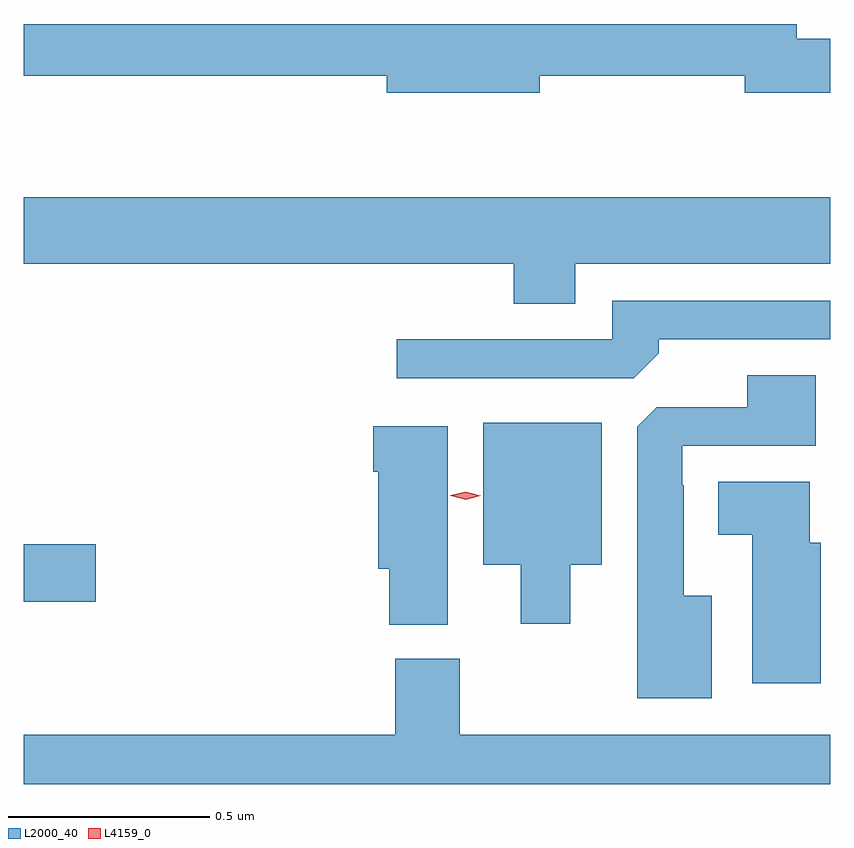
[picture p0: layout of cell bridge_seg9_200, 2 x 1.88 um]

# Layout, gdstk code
import gdstk
lib = gdstk.Library(unit=1e-6, precision=1e-09)
def R(c, l, rs):  # rectangles x0, y0, x1, y1
    for r in rs: c.add(gdstk.rectangle(r[:2], r[2:], *l))
def P(c, l, *ps):  # polygons
    for p in ps: c.add(gdstk.Polygon(p, *l))
L2000_40 = (2000, 40)
L4159_0 = (4159, 0)

bridge_seg9_200 = lib.new_cell('bridge_seg9_200')
R(bridge_seg9_200, L2000_40, [(169.994,1196.914,170.173,1197.056)])
P(bridge_seg9_200, L2000_40, [(171.274,1198.218),(171.782,1198.218),(171.782,1198.175),(171.994,1198.175),(171.994,1198.31),(171.91,1198.31),(171.91,1198.346),(169.994,1198.346),(169.994,1198.218),(170.894,1198.218),(170.894,1198.175),(171.274,1198.175)],
  [(171.361,1197.752),(171.994,1197.752),(171.994,1197.916),(169.994,1197.916),(169.994,1197.752),(171.209,1197.752),(171.209,1197.653),(171.361,1197.653)],
  [(171.569,1197.53),(171.569,1197.564),(171.994,1197.564),(171.994,1197.66),(171.453,1197.66),(171.453,1197.564),(170.919,1197.564),(170.919,1197.468),(171.507,1197.468)],
  [(171.7,1196.929),(171.631,1196.929),(171.631,1197.203),(171.627,1197.203),(171.627,1197.3),(171.958,1197.3),(171.958,1197.475),(171.788,1197.475),(171.788,1197.396),(171.564,1197.396),(171.515,1197.347),(171.515,1196.675),(171.7,1196.675)],
  [(171.349,1197.005),(171.427,1197.005),(171.427,1197.358),(171.134,1197.358),(171.134,1197.005),(171.227,1197.005),(171.227,1196.859),(171.349,1196.859)],
  [(171.046,1197.349),(170.861,1197.349),(170.861,1197.236),(170.873,1197.236),(170.873,1196.996),(170.9,1196.996),(170.9,1196.857),(171.046,1196.857)],
  [(171.97,1197.06),(171.943,1197.06),(171.943,1197.211),(171.716,1197.211),(171.716,1197.08),(171.8,1197.08),(171.8,1196.712),(171.97,1196.712)],
  [(171.994,1196.584),(171.075,1196.584),(171.075,1196.772),(170.915,1196.772),(170.915,1196.584),(169.994,1196.584),(169.994,1196.462),(171.994,1196.462)])
P(bridge_seg9_200, L4159_0, [(171.09,1197.167),(171.053,1197.177),(171.052,1197.177),(171.053,1197.178),(171.09,1197.187),(171.127,1197.177),(171.127,1197.177),(171.127,1197.177)])

lib.write_gds('bridge_seg9_200.gds')
